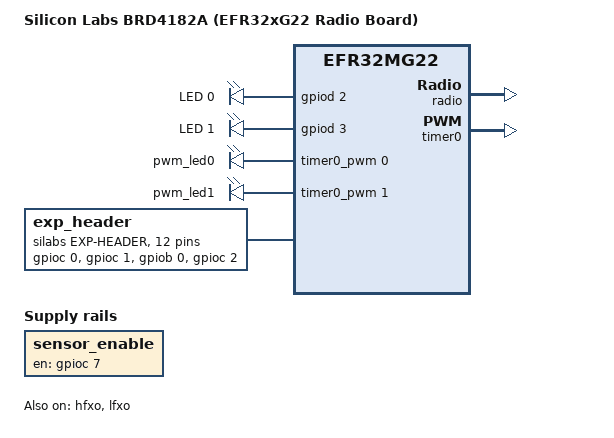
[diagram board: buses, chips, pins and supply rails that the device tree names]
/*
 * Copyright The Zephyr Project Contributors
 *
 * SPDX-License-Identifier: Apache-2.0
 */

/dts-v1/;
#include <silabs/xg22/efr32mg22c224f512im40.dtsi>
#include "xg22_radio_board.dtsi"

/ {
	model = "Silicon Labs BRD4182A (EFR32xG22 Radio Board)";
	compatible = "silabs,slwrb4182a", "silabs,efr32mg22";

	aliases {
		led0 = &led0;
		led1 = &led1;
		pwm-led0 = &pwm_led0;
		pwm-led1 = &pwm_led1;
	};

	leds {
		compatible = "gpio-leds";

		led0: led_0 {
			gpios = <&gpiod 2 GPIO_ACTIVE_HIGH>;
			label = "LED 0";
		};

		led1: led_1 {
			gpios = <&gpiod 3 GPIO_ACTIVE_HIGH>;
			label = "LED 1";
		};
	};

	pwmleds {
		compatible = "pwm-leds";

		pwm_led0: pwm_led_0 {
			pwms = <&timer0_pwm 0 PWM_MSEC(20) PWM_POLARITY_NORMAL>;
		};

		pwm_led1: pwm_led_1 {
			pwms = <&timer0_pwm 1 PWM_MSEC(20) PWM_POLARITY_NORMAL>;
		};
	};

	sensor_enable: gpio_switch_0 {
		compatible = "regulator-fixed";
		enable-gpios = <&gpioc 7 GPIO_ACTIVE_HIGH>;
		regulator-name = "sensor_enable";
	};

	exp_header: exp-header {
		compatible = "silabs,exp-header";
		#gpio-cells = <2>;
		gpio-map = <4 0 &gpioc 0 0>,
			   <6 0 &gpioc 1 0>,
			   <7 0 &gpiob 0 0>,
			   <8 0 &gpioc 2 0>,
			   <9 0 &gpiob 1 0>,
			   <10 0 &gpioc 3 0>,
			   <11 0 &gpiod 2 0>,
			   <12 0 &gpioa 5 0>,
			   <13 0 &gpiod 3 0>,
			   <14 0 &gpioa 6 0>,
			   <15 0 &gpiob 2 0>,
			   <16 0 &gpiob 3 0>;
		gpio-map-mask = <0xffffffff 0x0>;
		gpio-map-pass-thru = <0x0 GPIO_DT_FLAGS_MASK>;
	};
};

&hfxo {
	ctune = <120>;
	precision = <50>;
	status = "okay";
};

&lfxo {
	ctune = <37>;
	precision = <50>;
	status = "okay";
};

&prortcclk {
	clocks = <&lfxo>;
};

&rtccclk {
	clocks = <&lfxo>;
};

&wdog0clk {
	clocks = <&lfxo>;
};

&em23grpaclk {
	clocks = <&lfxo>;
};

&em4grpaclk {
	clocks = <&lfxo>;
};

&radio {
	pa-voltage-mv = <1800>;
};

&si7021 {
	vin-supply = <&sensor_enable>;
};

&ls013b7dh03 {
	disp-en-gpios = <&gpioc 7 GPIO_ACTIVE_HIGH>;
};

&pinctrl {
	timer0_default: timer0_default {
		group0 {
			pins = <TIMER0_CC0_PD2>, <TIMER0_CC1_PD3>;
			drive-push-pull;
			output-low;
		};
	};
};

&timer0 {
	status = "okay";

	timer0_pwm: pwm {
		pinctrl-0 = <&timer0_default>;
		pinctrl-names = "default";
		status = "okay";
	};
};
